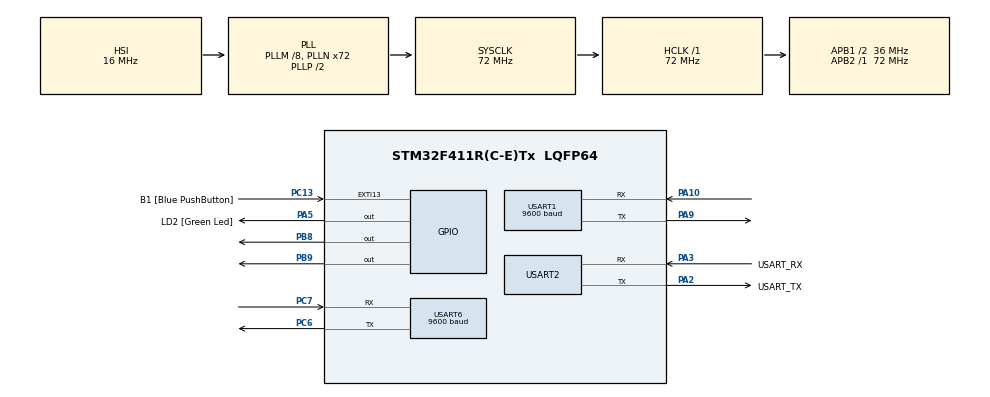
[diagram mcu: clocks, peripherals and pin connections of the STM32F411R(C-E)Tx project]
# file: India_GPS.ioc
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Mcu.Family=STM32F4
Mcu.Name=STM32F411R(C-E)Tx
Mcu.Package=LQFP64
NVIC.PriorityGroup=NVIC_PRIORITYGROUP_0
NVIC.USART1_IRQn=true\:0\:0\:false\:false\:true\:true\:true\:true
PA10.Mode=Asynchronous
PA10.Signal=USART1_RX
PA13.GPIO_Label=TMS
PA13.Mode=Serial_Wire
PA13.Signal=SYS_JTMS-SWDIO
PA14.GPIO_Label=TCK
PA14.Mode=Serial_Wire
PA14.Signal=SYS_JTCK-SWCLK
PA2.GPIO_Label=USART_TX
PA2.Mode=Asynchronous
PA2.Signal=USART2_TX
PA3.GPIO_Label=USART_RX
PA3.Mode=Asynchronous
PA3.Signal=USART2_RX
PA5.GPIO_Label=LD2 [Green Led]
PA5.Signal=GPIO_Output
PA9.Mode=Asynchronous
PA9.Signal=USART1_TX
PB3.GPIO_Label=SWO
PB3.Signal=SYS_JTDO-SWO
PB8.Signal=GPIO_Output
PB9.Signal=GPIO_Output
PC13-ANTI_TAMP.GPIO_Label=B1 [Blue PushButton]
PC13-ANTI_TAMP.GPIO_ModeDefaultEXTI=GPIO_MODE_IT_FALLING
PC13-ANTI_TAMP.Signal=GPXTI13
PC14-OSC32_IN.Mode=LSE-External-Oscillator
PC14-OSC32_IN.Signal=RCC_OSC32_IN
PC15-OSC32_OUT.Mode=LSE-External-Oscillator
PC15-OSC32_OUT.Signal=RCC_OSC32_OUT
PC6.Mode=Asynchronous
PC6.Signal=USART6_TX
PC7.Mode=Asynchronous
PC7.Signal=USART6_RX
PH0\ -\ OSC_IN.Mode=HSE-External-Clock-Source
PH0\ -\ OSC_IN.Signal=RCC_OSC_IN
PH1\ -\ OSC_OUT.Mode=HSE-External-Clock-Source
PH1\ -\ OSC_OUT.Signal=RCC_OSC_OUT
ProjectManager.HeapSize=0x200
ProjectManager.StackSize=0x400
ProjectManager.TargetToolchain=STM32CubeIDE
RCC.48MHZClocksFreq_Value=36000000
RCC.AHBFreq_Value=72000000
RCC.APB1CLKDivider=RCC_HCLK_DIV2
RCC.APB1Freq_Value=36000000
RCC.APB1TimFreq_Value=72000000
RCC.APB2Freq_Value=72000000
RCC.APB2TimFreq_Value=72000000
RCC.CortexFreq_Value=72000000
RCC.FLatency-AdvancedSettings=FLASH_LATENCY_2
RCC.HCLKFreq_Value=72000000
RCC.HSE_VALUE=8000000
RCC.HSI_VALUE=16000000
RCC.PLLM=8
RCC.PLLN=72
RCC.SYSCLKFreq_VALUE=72000000
RCC.SYSCLKSource=RCC_SYSCLKSOURCE_PLLCLK
RCC.VCOOutputFreq_Value=144000000
USART1.BaudRate=9600
USART1.VirtualMode=VM_ASYNC
USART2.VirtualMode=VM_ASYNC
USART6.BaudRate=9600
USART6.VirtualMode=VM_ASYNC
board=NUCLEO-F411RE

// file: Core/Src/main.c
/* USER CODE BEGIN Header */
/**
  ******************************************************************************
  * @file           : main.c
  * @brief          : Main program body
  ******************************************************************************
  * @attention
  *
  * Copyright (c) 2024 STMicroelectronics.
  * All rights reserved.
  *
  * This software is licensed under terms that can be found in the LICENSE file
  * in the root directory of this software component.
  * If no LICENSE file comes with this software, it is provided AS-IS.
  *
  ******************************************************************************
  */
/* USER CODE END Header */
#include "main.h"

/* USER CODE BEGIN Includes */
#include "UartRingbuffer.h"
#include "NMEA.h"

#include <string.h>
#include <stdio.h>

#include "stdint.h"
#include "stdlib.h"
#include "strings.h"
#include "math.h"
#include "DHT.h"
/* USER CODE END Includes */

UART_HandleTypeDef huart1;
UART_HandleTypeDef huart2;
UART_HandleTypeDef huart6;

void SystemClock_Config(void);
static void MX_GPIO_Init(void);
static void MX_USART2_UART_Init(void);
static void MX_USART1_UART_Init(void);
static void MX_USART6_UART_Init(void);

/* USER CODE BEGIN 0 */
// ================================================ PM2.5 ================================================

struct pms5003data {
  uint16_t framelen;
  uint16_t pm10_standard, pm25_standard, pm100_standard;
  uint16_t pm10_env, pm25_env, pm100_env;
  uint16_t particles_03um, particles_05um, particles_10um, particles_25um, particles_50um, particles_100um;
  uint16_t unused;
  uint16_t checksum;
};

struct pms5003data data;

void parsePMS5003Data(uint8_t *buffer) {
  data.framelen = (buffer[0] << 8) | buffer[1];
  data.pm10_standard = (buffer[2] << 8) | buffer[3];
  data.pm25_standard = (buffer[4] << 8) | buffer[5];
  data.pm100_standard = (buffer[6] << 8) | buffer[7];
  data.pm10_env = (buffer[8] << 8) | buffer[9];
  data.pm25_env = (buffer[10] << 8) | buffer[11];
  data.pm100_env = (buffer[12] << 8) | buffer[13];
  data.particles_03um = (buffer[14] << 8) | buffer[15];
  data.particles_05um = (buffer[16] << 8) | buffer[17];
  data.particles_10um = (buffer[18] << 8) | buffer[19];
  data.particles_25um = (buffer[20] << 8) | buffer[21];
  data.particles_50um = (buffer[22] << 8) | buffer[23];
  data.particles_100um = (buffer[24] << 8) | buffer[25];
  data.unused = (buffer[26] << 8) | buffer[27];
  data.checksum = (buffer[30] << 8) | buffer[31];
}

uint8_t readPMSdata(UART_HandleTypeDef *huart) {
  uint8_t buffer[32];
  uint16_t sum = 0;

  /* Receive data from UART */
  if (HAL_UART_Receive(huart, buffer, 32, 1000) != HAL_OK) {
    return 0;
  }

  /* Check for start byte */
  if (buffer[0] != 0x42) {
    return 0;
  }

  /* Calculate checksum */
  for (uint8_t i = 0; i < 30; i++) {
    sum += buffer[i];
  }

  /* Compare checksums */
  /*if (sum != data.checksum) {
    return 0;
  }*/

  /* Parse received data */
  /* Implement parsePMS5003Data() function if required */
  // Parse the received data
  parsePMS5003Data(buffer);

  return 1;
}

// GPS
#define uart &huart1

#define TIMEOUT_DEF 500  // 500ms timeout
uint16_t timeout;
ring_buffer rx_buffer = { { 0 }, 0, 0};
ring_buffer tx_buffer = { { 0 }, 0, 0};

ring_buffer *_rx_buffer;
ring_buffer *_tx_buffer;

void store_char(unsigned char c, ring_buffer *buffer);

void Ringbuf_init(void)
{
  _rx_buffer = &rx_buffer;
  _tx_buffer = &tx_buffer;

  /* Enable the UART Error Interrupt: (Frame error, noise error, overrun error) */
  __HAL_UART_ENABLE_IT(uart, UART_IT_ERR);

  /* Enable the UART Data Register not empty Interrupt */
  __HAL_UART_ENABLE_IT(uart, UART_IT_RXNE);
}

void store_char(unsigned char c, ring_buffer *buffer)
{
  int i = (unsigned int)(buffer->head + 1) % UART_BUFFER_SIZE;

  // if we should be storing the received character into the location
  // just before the tail (meaning that the head would advance to the
  // current location of the tail), we're about to overflow the buffer
  // and so we don't write the character or advance the head.
  if(i != buffer->tail) {
    buffer->buffer[buffer->head] = c;
    buffer->head = i;
  }
}

/* checks, if the entered string is present in the giver buffer ?
 */
static int check_for (char *str, char *buffertolookinto)
{
	int stringlength = strlen (str);
	int bufferlength = strlen (buffertolookinto);
	int so_far = 0;
	int indx = 0;
repeat:
	while (str[so_far] != buffertolookinto[indx])
		{
			indx++;
			if (indx>stringlength) return 0;
		}
	if (str[so_far] == buffertolookinto[indx])
	{
		while (str[so_far] == buffertolookinto[indx])
		{
			so_far++;
			indx++;
		}
	}

	if (so_far == stringlength);
	else
	{
		so_far =0;
		if (indx >= bufferlength) return -1;
		goto repeat;
	}

	if (so_far == stringlength) return 1;
	else return -1;
}

int Uart_read(void)
{
  // if the head isn't ahead of the tail, we don't have any characters
  if(_rx_buffer->head == _rx_buffer->tail)
  {
    return -1;
  }
  else
  {
    unsigned char c = _rx_buffer->buffer[_rx_buffer->tail];
    _rx_buffer->tail = (unsigned int)(_rx_buffer->tail + 1) % UART_BUFFER_SIZE;
    return c;
  }
}

/* writes a single character to the uart and increments head
 */
void Uart_write(int c)
{
	if (c>=0)
	{
		int i = (_tx_buffer->head + 1) % UART_BUFFER_SIZE;
		while (i == _tx_buffer->tail);

		_tx_buffer->buffer[_tx_buffer->head] = (uint8_t)c;
		_tx_buffer->head = i;

		__HAL_UART_ENABLE_IT(uart, UART_IT_TXE); // Enable UART transmission interrupt
	}
}

/* checks if the new data is available in the incoming buffer
 */
int IsDataAvailable(void)
{
  return (uint16_t)(UART_BUFFER_SIZE + _rx_buffer->head - _rx_buffer->tail) % UART_BUFFER_SIZE;
}

/* sends the string to the uart
 */
void Uart_sendstring (const char *s)
{
	while(*s) Uart_write(*s++);
}

void GetDataFromBuffer (char *startString, char *endString, char *buffertocopyfrom, char *buffertocopyinto)
{
	int startStringLength = strlen (startString);
	int endStringLength   = strlen (endString);
	int so_far = 0;
	int indx = 0;
	int startposition = 0;
	int endposition = 0;

repeat1:
	while (startString[so_far] != buffertocopyfrom[indx]) indx++;
	if (startString[so_far] == buffertocopyfrom[indx])
	{
		while (startString[so_far] == buffertocopyfrom[indx])
		{
			so_far++;
			indx++;
		}
	}

	if (so_far == startStringLength) startposition = indx;
	else
	{
		so_far =0;
		goto repeat1;
	}

	so_far = 0;

repeat2:
	while (endString[so_far] != buffertocopyfrom[indx]) indx++;
	if (endString[so_far] == buffertocopyfrom[indx])
	{
		while (endString[so_far] == buffertocopyfrom[indx])
		{
			so_far++;
			indx++;
		}
	}

	if (so_far == endStringLength) endposition = indx-endStringLength;
	else
	{
		so_far =0;
		goto repeat2;
	}

	so_far = 0;
	indx=0;

	for (int i=startposition; i<endposition; i++)
	{
		buffertocopyinto[indx] = buffertocopyfrom[i];
		indx++;
	}
}

void Uart_flush (void)
{
	memset(_rx_buffer->buffer,'\0', UART_BUFFER_SIZE);
	_rx_buffer->head = 0;
	_rx_buffer->tail = 0;
}

int Uart_peek()
{
  if(_rx_buffer->head == _rx_buffer->tail)
  {
    return -1;
  }
  else
  {
    return _rx_buffer->buffer[_rx_buffer->tail];
  }
}

/* copies the data from the incoming buffer into our buffer
 * Must be used if you are sure that the data is being received
 * it will copy irrespective of, if the end string is there or not
 * if the end string gets copied, it returns 1 or else 0
 * Use it either after (IsDataAvailable) or after (Wait_for) functions
 */
int Copy_upto (char *string, char *buffertocopyinto)
{
	int so_far =0;
	int len = strlen (string);
	int indx = 0;

again:
	while (Uart_peek() != string[so_far])
		{
			buffertocopyinto[indx] = _rx_buffer->buffer[_rx_buffer->tail];
			_rx_buffer->tail = (unsigned int)(_rx_buffer->tail + 1) % UART_BUFFER_SIZE;
			indx++;
			while (!IsDataAvailable());

		}
	while (Uart_peek() == string [so_far])
	{
		so_far++;
		buffertocopyinto[indx++] = Uart_read();
		if (so_far == len) return 1;
		timeout = TIMEOUT_DEF;
		while ((!IsDataAvailable())&&timeout);
		if (timeout == 0) return 0;
	}

	if (so_far != len)
	{
		so_far = 0;
		goto again;
	}

	if (so_far == len) return 1;
	else return 0;
}

/* must be used after wait_for function
 * get the entered number of characters after the entered string
 */
int Get_after (char *string, uint8_t numberofchars, char *buffertosave)
{
	for (int indx=0; indx<numberofchars; indx++)
	{
		timeout = TIMEOUT_DEF;
		while ((!IsDataAvailable())&&timeout);  // wait until some data is available
		if (timeout == 0) return 0;  // if data isn't available within time, then return 0
		buffertosave[indx] = Uart_read();  // save the data into the buffer... increments the tail
	}
	return 1;
}

/* Waits for a particular string to arrive in the incoming buffer... It also increments the tail
 * returns 1, if the string is detected
 */
// added timeout feature so the function won't block the processing of the other functions
int Wait_for (char *string)
{
	int so_far =0;
	int len = strlen (string);

again:
	timeout = TIMEOUT_DEF;
	while ((!IsDataAvailable())&&timeout);  // let's wait for the data to show up
	if (timeout == 0) return 0;
	while (Uart_peek() != string[so_far])  // peek in the rx_buffer to see if we get the string
	{
		if (_rx_buffer->tail != _rx_buffer->head)
		{
			_rx_buffer->tail = (unsigned int)(_rx_buffer->tail + 1) % UART_BUFFER_SIZE;  // increment the tail
		}

		else
		{
			return 0;
		}
	}
	while (Uart_peek() == string [so_far]) // if we got the first letter of the string
	{
		// now we will peek for the other letters too
		so_far++;
		_rx_buffer->tail = (unsigned int)(_rx_buffer->tail + 1) % UART_BUFFER_SIZE;  // increment the tail
		if (so_far == len) return 1;
		timeout = TIMEOUT_DEF;
		while ((!IsDataAvailable())&&timeout);
		if (timeout == 0) return 0;
	}

	if (so_far != len)
	{
		so_far = 0;
		goto again;
	}

	if (so_far == len) return 1;
	else return 0;
}

void Uart_isr (UART_HandleTypeDef *huart)
{
	  uint32_t isrflags   = READ_REG(huart->Instance->SR);
	  uint32_t cr1its     = READ_REG(huart->Instance->CR1);

    /* if DR is not empty and the Rx Int is enabled */
    if (((isrflags & USART_SR_RXNE) != RESET) && ((cr1its & USART_CR1_RXNEIE) != RESET))
    {
    	 /******************
    	    	      *  @note   PE (Parity error), FE (Framing error), NE (Noise error), ORE (Overrun
    	    	      *          error) and IDLE (Idle line detected) flags are cleared by software
    	    	      *          sequence: a read operation to USART_SR register followed by a read
    	    	      *          operation to USART_DR register.
    	    	      * @note   RXNE flag can be also cleared by a read to the USART_DR register.
    	    	      * @note   TC flag can be also cleared by software sequence: a read operation to
    	    	      *          USART_SR register followed by a write operation to USART_DR register.
    	    	      * @note   TXE flag is cleared only by a write to the USART_DR register.

    	 *********************/
		huart->Instance->SR;                       /* Read status register */
        unsigned char c = huart->Instance->DR;     /* Read data register */
        store_char (c, _rx_buffer);  // store data in buffer
        return;
    }

    /*If interrupt is caused due to Transmit Data Register Empty */
    if (((isrflags & USART_SR_TXE) != RESET) && ((cr1its & USART_CR1_TXEIE) != RESET))
    {
    	if(tx_buffer.head == tx_buffer.tail)
    	    {
    	      // Buffer empty, so disable interrupts
    	      __HAL_UART_DISABLE_IT(huart, UART_IT_TXE);

    	    }

    	 else
    	    {
    	      // There is more data in the output buffer. Send the next byte
    	      unsigned char c = tx_buffer.buffer[tx_buffer.tail];
    	      tx_buffer.tail = (tx_buffer.tail + 1) % UART_BUFFER_SIZE;

    	      /******************
    	      *  @note   PE (Parity error), FE (Framing error), NE (Noise error), ORE (Overrun
    	      *          error) and IDLE (Idle line detected) flags are cleared by software
    	      *          sequence: a read operation to USART_SR register followed by a read
    	      *          operation to USART_DR register.
    	      * @note   RXNE flag can be also cleared by a read to the USART_DR register.
    	      * @note   TC flag can be also cleared by software sequence: a read operation to
    	      *          USART_SR register followed by a write operation to USART_DR register.
    	      * @note   TXE flag is cleared only by a write to the USART_DR register.

    	      *********************/

    	      huart->Instance->SR;
    	      huart->Instance->DR = c;

    	    }
    	return;
    }
}
/////////////////////////////////////////////////////////////////////////////////////
int GMT = +7;
int inx =0;
int hr=0,min=0,day=0,mon=0,yr=0;
int daychange=0;

int decodeGGA(char *GGAbuffer, GGASTRUCT *gga){
	inx =0;
	char buffer[12];
	int i=0;
	while(GGAbuffer[inx] != ',') inx++;
	inx++;
	while(GGAbuffer[inx] != ',') inx++;
	inx++;
	while(GGAbuffer[inx] != ',') inx++;
	inx++;
	while(GGAbuffer[inx] != ',') inx++;
	inx++;
	while(GGAbuffer[inx] != ',') inx++;
	inx++;
	while(GGAbuffer[inx] != ',') inx++;
	inx++;
	if((GGAbuffer[inx]== '1') || (GGAbuffer[inx]== '2') || (GGAbuffer[inx]== '6')){
		gga->isfixValid =1;
		inx=0;
	}else{
		gga->isfixValid=0;
		return 1;
	}
	while(GGAbuffer[inx]!= ',')inx++;

	inx++;   // reach the first number in time
		memset(buffer, '\0', 12);
		i=0;
		while (GGAbuffer[inx] != ',')  // copy upto the we reach the after time ','
		{
			buffer[i] = GGAbuffer[inx];
			i++;
			inx++;
		}

		hr = (atoi(buffer)/10000) + GMT/100;   // get the hours from the 6 digit number

		min = ((atoi(buffer)/100)%100) + GMT%100;  // get the minutes from the 6 digit number

		// adjust time.. This part still needs to be tested
		if (min > 59)
		{
			min = min-60;
			hr++;
		}
		if (hr<0)
		{
			hr=24+hr;
			daychange--;
		}
		if (hr>=24)
		{
			hr=hr-24;
			daychange++;
		}

		// Store the time in the GGA structure
		gga->tim.hour = hr;
		gga->tim.min = min;
		gga->tim.sec = atoi(buffer)%100;
		/***************** Get LATITUDE  **********************/
		inx++;   // Reach the first number in the lattitude
		memset(buffer, '\0', 12);
		i=0;
		while (GGAbuffer[inx] != ',')   // copy upto the we reach the after lattitude ','
		{
			buffer[i] = GGAbuffer[inx];
			i++;
			inx++;
		}
		if (strlen(buffer) < 6) return 2;  // If the buffer length is not appropriate, return error
		int16_t num = (atoi(buffer));   // change the buffer to the number. It will only convert upto decimal
		int j = 0;
		while (buffer[j] != '.') j++;   // Figure out how many digits before the decimal
		j++;
		int declen = (strlen(buffer))-j;  // calculate the number of digit after decimal
		int dec = atoi ((char *) buffer+j);  // conver the decimal part a a separate number
		float lat = (int)(num/100) + (((num%100) + (dec/pow(10, declen)))/60);  // 1234.56789 = 12.3456789
		if(lat > 500) return 2;
		gga->location.latitude = lat;  // save the lattitude data into the strucure
		inx++;
		gga->location.NS = GGAbuffer[inx];  // save the N/S into the structure
		//Grt long
		inx++;
		inx++;
		memset(buffer, '\0',12);
		i=0;
		while(GGAbuffer[inx]!=','){
			buffer[i] = GGAbuffer[inx];
			i++;
			inx++;
		}
		num = (atoi(buffer));
		j=0;
		while(buffer[j]!='.')j++;
		j++;
		declen = (strlen(buffer))-j;
		dec =  atoi ((char *)buffer+j);
		lat = (float)((int)(num/100) + (((num%100) + (dec/pow(10, declen)))/60));
		if(lat > 500) return 2;
		gga->location.longitude=lat;
		inx++;
		gga->location.EW=GGAbuffer[inx];

		inx++;
		inx++;
		inx++;

		inx++;
		memset(buffer, '\0',12);
		i=0;
		while(GGAbuffer[inx]!=','){
			buffer[i]= GGAbuffer[inx];
			i++;
			inx++;
		}
		gga->numofsat = atoi(buffer);

		inx++;
		while(GGAbuffer[inx] != ',')inx++;

		inx++;
		memset(buffer,'\0',12);
		i=0;
		while(GGAbuffer[inx]!=','){
			buffer[i] = GGAbuffer[inx];
			i++;
			inx++;
		}
		num = atoi(buffer);
		j=0;
		while(buffer[j]!='.')j++;
		j++;
		declen = (strlen(buffer))-j;
		dec =  atoi ((char *)buffer+j);
		lat = (num)+(dec/pow(10, (declen)));
		gga->alt.altitude=lat;
		inx++;
		gga->alt.unit= GGAbuffer[inx];
		return 0;
}

char GGA[100];

GPSSTRUCT gpsData;

int flagGGA = 0;
char lcdBuffer [50];

int VCCTimeout = 5000;

DHT_DataTypedef DHT22_Data;
float Temperature, Humidity;
float temp = 0, hum = 0;
/* USER CODE END 0 */

int main(void)
{

  /* MCU Configuration--------------------------------------------------------*/

  /* Reset of all peripherals, Initializes the Flash interface and the Systick. */
  HAL_Init();

  /* Configure the system clock */
  SystemClock_Config();

  /* Initialize all configured peripherals */
  MX_GPIO_Init();
  MX_USART2_UART_Init();
  MX_USART1_UART_Init();
  MX_USART6_UART_Init();
  /* USER CODE BEGIN 2 */
  Ringbuf_init();
  HAL_Delay(500);

  uint8_t printBuffer[200];
  uint8_t sendBuffer[200];
  /* USER CODE END 2 */

  /* Infinite loop */
  /* USER CODE BEGIN WHILE */
  while (1)
  {

	  if (Wait_for("GGA") == 1)
	  {
		  VCCTimeout = 5000;  // Reset the VCC Timeout indicating the GGA is being received
		  Copy_upto("*", GGA);
		  if (decodeGGA(GGA, &gpsData.ggastruct) == 0) flagGGA = 2;  // 2 indicates the data is valid
		  else flagGGA = 1;  // 1 indicates the data is invalid
	  }
	  //char printBuffer[200];
	  //sprintf(printBuffer, "latitude: %.6f, longitude: %.6f\r\n", &(&gpsData.ggastruct)->location.latitude, &(&gpsData.ggastruct)->location.longitude);
	  //HAL_UART_Transmit(&huart2, (uint8_t*)printBuffer, strlen(printBuffer), HAL_MAX_DELAY);
	  if ((flagGGA == 2 && data.pm25_standard != 0))
		  {
			  sprintf(printBuffer, "latitude: %.6f, longitude: %.6f\r\n", gpsData.ggastruct.location.latitude, gpsData.ggastruct.location.longitude);
			  HAL_UART_Transmit(&huart2, (uint8_t*)printBuffer, strlen(printBuffer), HAL_MAX_DELAY);
			  sprintf(printBuffer, "PM1: %d, PM2.5: %d, PM10: %d\r\n", data.pm10_standard, data.pm25_standard, data.pm100_standard);
			  HAL_UART_Transmit(&huart2, (uint8_t *)printBuffer, strlen(printBuffer), HAL_MAX_DELAY);
//			  DHT_GetData(&DHT22_Data);
//			  temp = DHT22_Data.Temperature/10;
//			  hum = DHT22_Data.Humidity/10;
//
//			  sprintf(printBuffer, "Temp: %.1f, Hum: %.1f\r\n", temp, hum);
//			  HAL_UART_Transmit(&huart2, (uint8_t *)printBuffer, strlen(printBuffer), HAL_MAX_DELAY);

			  //sprintf(sendBuffer, "%.6f,%.6f,%d,%.1f%.1f\r\n	", gpsData.ggastruct.location.latitude, gpsData.ggastruct.location.longitude, data.pm25_standard, temp, hum);
			  sprintf(sendBuffer, "%.6f,%.6f,%d\r\n	", gpsData.ggastruct.location.latitude, gpsData.ggastruct.location.longitude, data.pm25_standard);
			  HAL_UART_Transmit(&huart6, (uint8_t*)sendBuffer, strlen(sendBuffer), HAL_MAX_DELAY);
			  HAL_GPIO_TogglePin(GPIOA, GPIO_PIN_5);
			  data.pm25_standard = 0;
		  }

	 else if ((flagGGA == 1))
	 {
		// Instead of clearing the display, it's better if we print spaces.
		// This will avoid the "refreshing" part
		 char x[10];
		 sprintf(x,"GPS data is invalid\r\n");
		 HAL_UART_Transmit(&huart2, (uint8_t*)x, strlen(x), HAL_MAX_DELAY);
	 }
	 else {
		 char x[10];
		 sprintf(x,"No recent PM2.5 data\r\n");
		 HAL_UART_Transmit(&huart2, (uint8_t*)x, strlen(x), HAL_MAX_DELAY);
	 }
	 if (VCCTimeout <= 0)
	 {
		VCCTimeout = 5000;  // Reset the timeout
		flagGGA=0;
		 char x = '1';
		 //HAL_UART_Transmit(&huart2, x, strlen(x), HAL_MAX_DELAY);
	 }
	 if(!HAL_GPIO_ReadPin(GPIOC, GPIO_PIN_13)){
		 uint8_t test[] = "13.746180,100.539258,999\r\n";
		 HAL_UART_Transmit(&huart6, (uint8_t*)test, strlen(test), HAL_MAX_DELAY);
		 HAL_UART_Transmit(&huart2, (uint8_t*)test, strlen(test), HAL_MAX_DELAY);
		 while(!HAL_GPIO_ReadPin(GPIOC, GPIO_PIN_13));
	 }

	 while(data.pm25_standard == 0){
		 if (readPMSdata(&huart6))
		{
		  HAL_GPIO_TogglePin(GPIOA,GPIO_PIN_5);
		}
		 if(!HAL_GPIO_ReadPin(GPIOC, GPIO_PIN_13)){
			 uint8_t test[] = "13.746180,100.539258,999\r\n";
			 HAL_UART_Transmit(&huart6, (uint8_t*)test, strlen(test), HAL_MAX_DELAY);
			 HAL_UART_Transmit(&huart2, (uint8_t*)test, strlen(test), HAL_MAX_DELAY);
			 while(!HAL_GPIO_ReadPin(GPIOC, GPIO_PIN_13));
		 }
	 }

	  HAL_Delay(100);
    /* USER CODE END WHILE */

  }
}

void SystemClock_Config(void)
{
  RCC_OscInitTypeDef RCC_OscInitStruct = {0};
  RCC_ClkInitTypeDef RCC_ClkInitStruct = {0};

  /** Configure the main internal regulator output voltage
  */
  __HAL_RCC_PWR_CLK_ENABLE();
  __HAL_PWR_VOLTAGESCALING_CONFIG(PWR_REGULATOR_VOLTAGE_SCALE1);

  /** Initializes the RCC Oscillators according to the specified parameters
  * in the RCC_OscInitTypeDef structure.
  */
  RCC_OscInitStruct.OscillatorType = RCC_OSCILLATORTYPE_HSI;
  RCC_OscInitStruct.HSIState = RCC_HSI_ON;
  RCC_OscInitStruct.HSICalibrationValue = RCC_HSICALIBRATION_DEFAULT;
  RCC_OscInitStruct.PLL.PLLState = RCC_PLL_ON;
  RCC_OscInitStruct.PLL.PLLSource = RCC_PLLSOURCE_HSI;
  RCC_OscInitStruct.PLL.PLLM = 8;
  RCC_OscInitStruct.PLL.PLLN = 72;
  RCC_OscInitStruct.PLL.PLLP = RCC_PLLP_DIV2;
  RCC_OscInitStruct.PLL.PLLQ = 4;
  if (HAL_RCC_OscConfig(&RCC_OscInitStruct) != HAL_OK)
  {
    Error_Handler();
  }

  /** Initializes the CPU, AHB and APB buses clocks
  */
  RCC_ClkInitStruct.ClockType = RCC_CLOCKTYPE_HCLK|RCC_CLOCKTYPE_SYSCLK
                              |RCC_CLOCKTYPE_PCLK1|RCC_CLOCKTYPE_PCLK2;
  RCC_ClkInitStruct.SYSCLKSource = RCC_SYSCLKSOURCE_PLLCLK;
  RCC_ClkInitStruct.AHBCLKDivider = RCC_SYSCLK_DIV1;
  RCC_ClkInitStruct.APB1CLKDivider = RCC_HCLK_DIV2;
  RCC_ClkInitStruct.APB2CLKDivider = RCC_HCLK_DIV1;

  if (HAL_RCC_ClockConfig(&RCC_ClkInitStruct, FLASH_LATENCY_2) != HAL_OK)
  {
    Error_Handler();
  }
}

static void MX_USART1_UART_Init(void)
{

  huart1.Instance = USART1;
  huart1.Init.BaudRate = 9600;
  huart1.Init.WordLength = UART_WORDLENGTH_8B;
  huart1.Init.StopBits = UART_STOPBITS_1;
  huart1.Init.Parity = UART_PARITY_NONE;
  huart1.Init.Mode = UART_MODE_TX_RX;
  huart1.Init.HwFlowCtl = UART_HWCONTROL_NONE;
  huart1.Init.OverSampling = UART_OVERSAMPLING_16;
  if (HAL_UART_Init(&huart1) != HAL_OK)
  {
    Error_Handler();
  }

}

static void MX_USART2_UART_Init(void)
{

  huart2.Instance = USART2;
  huart2.Init.BaudRate = 115200;
  huart2.Init.WordLength = UART_WORDLENGTH_8B;
  huart2.Init.StopBits = UART_STOPBITS_1;
  huart2.Init.Parity = UART_PARITY_NONE;
  huart2.Init.Mode = UART_MODE_TX_RX;
  huart2.Init.HwFlowCtl = UART_HWCONTROL_NONE;
  huart2.Init.OverSampling = UART_OVERSAMPLING_16;
  if (HAL_UART_Init(&huart2) != HAL_OK)
  {
    Error_Handler();
  }

}

static void MX_USART6_UART_Init(void)
{

  huart6.Instance = USART6;
  huart6.Init.BaudRate = 9600;
  huart6.Init.WordLength = UART_WORDLENGTH_8B;
  huart6.Init.StopBits = UART_STOPBITS_1;
  huart6.Init.Parity = UART_PARITY_NONE;
  huart6.Init.Mode = UART_MODE_TX_RX;
  huart6.Init.HwFlowCtl = UART_HWCONTROL_NONE;
  huart6.Init.OverSampling = UART_OVERSAMPLING_16;
  if (HAL_UART_Init(&huart6) != HAL_OK)
  {
    Error_Handler();
  }

}

static void MX_GPIO_Init(void)
{
  GPIO_InitTypeDef GPIO_InitStruct = {0};

  /* GPIO Ports Clock Enable */
  __HAL_RCC_GPIOC_CLK_ENABLE();
  __HAL_RCC_GPIOH_CLK_ENABLE();
  __HAL_RCC_GPIOA_CLK_ENABLE();
  __HAL_RCC_GPIOB_CLK_ENABLE();

  /*Configure GPIO pin Output Level */
  HAL_GPIO_WritePin(LD2_GPIO_Port, LD2_Pin, GPIO_PIN_RESET);

  /*Configure GPIO pin Output Level */
  HAL_GPIO_WritePin(GPIOB, GPIO_PIN_8|GPIO_PIN_9, GPIO_PIN_RESET);

  /*Configure GPIO pin : B1_Pin */
  GPIO_InitStruct.Pin = B1_Pin;
  GPIO_InitStruct.Mode = GPIO_MODE_IT_FALLING;
  GPIO_InitStruct.Pull = GPIO_NOPULL;
  HAL_GPIO_Init(B1_GPIO_Port, &GPIO_InitStruct);

  /*Configure GPIO pin : LD2_Pin */
  GPIO_InitStruct.Pin = LD2_Pin;
  GPIO_InitStruct.Mode = GPIO_MODE_OUTPUT_PP;
  GPIO_InitStruct.Pull = GPIO_NOPULL;
  GPIO_InitStruct.Speed = GPIO_SPEED_FREQ_LOW;
  HAL_GPIO_Init(LD2_GPIO_Port, &GPIO_InitStruct);

  /*Configure GPIO pins : PB8 PB9 */
  GPIO_InitStruct.Pin = GPIO_PIN_8|GPIO_PIN_9;
  GPIO_InitStruct.Mode = GPIO_MODE_OUTPUT_PP;
  GPIO_InitStruct.Pull = GPIO_NOPULL;
  GPIO_InitStruct.Speed = GPIO_SPEED_FREQ_LOW;
  HAL_GPIO_Init(GPIOB, &GPIO_InitStruct);

}

void Error_Handler(void)
{
  __disable_irq();
  while (1)
  {
  }
}
